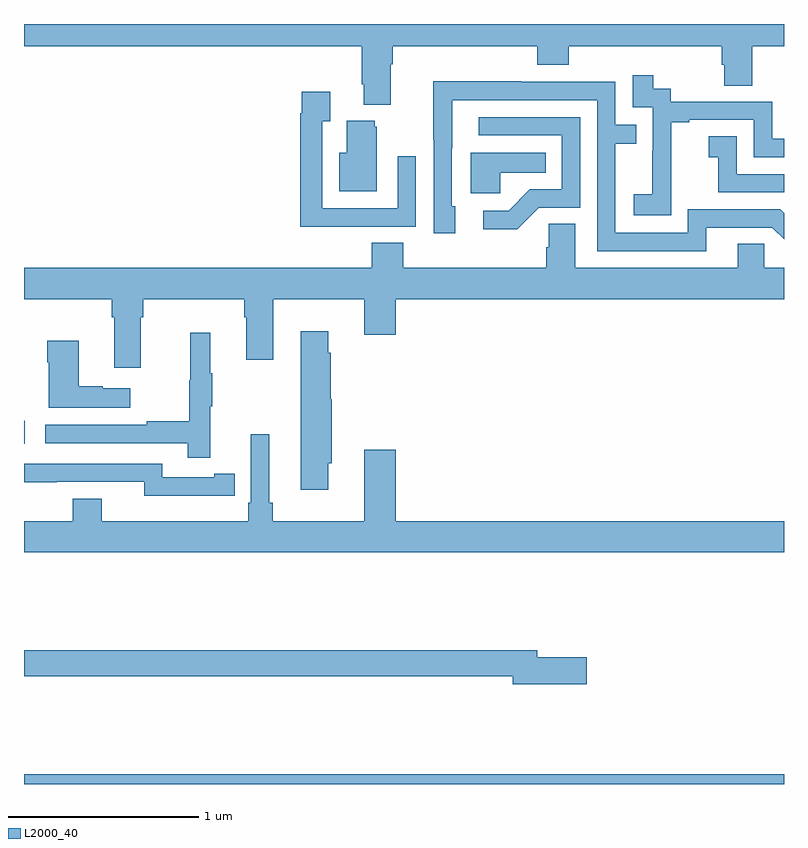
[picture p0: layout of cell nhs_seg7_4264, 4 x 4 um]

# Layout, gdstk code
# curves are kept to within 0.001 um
import gdstk
lib = gdstk.Library(unit=1e-6, precision=1e-09)
def R(c, l, rs):  # rectangles x0, y0, x1, y1
    for r in rs: c.add(gdstk.rectangle(r[:2], r[2:], *l))
def P(c, l, *ps):  # polygons
    for p in ps: c.add(gdstk.Polygon(p, *l))
L2000_40 = (2000, 40)

nhs_seg7_4264 = lib.new_cell('nhs_seg7_4264')
R(nhs_seg7_4264, L2000_40, [(379,1062,383,1062.052), (379,1063.791,379.003,1063.911)])
P(nhs_seg7_4264, L2000_40, [(380.929,1065.788),(380.942,1065.788),(380.942,1065.884),(381.701,1065.884),(381.701,1065.785),(381.866,1065.785),(381.866,1065.884),(382.673,1065.884),(382.673,1065.786),(382.685,1065.786),(382.685,1065.676),(382.833,1065.676),(382.833,1065.884),(383,1065.884),(383,1066),(379,1066),(379,1065.884),(380.777,1065.884),(380.777,1065.682),(380.789,1065.682),(380.789,1065.575),(380.929,1065.575)],
  [(382.407,1065.199),(382.406,1065.199),(382.406,1065.483),(382.501,1065.483),(382.501,1065.495),(382.842,1065.495),(382.842,1065.3),(383,1065.3),(383,1065.396),(382.938,1065.396),(382.938,1065.591),(382.404,1065.591),(382.404,1065.66),(382.312,1065.66),(382.312,1065.73),(382.203,1065.73),(382.203,1065.561),(382.308,1065.561),(382.308,1065.332),(382.307,1065.332),(382.307,1065.103),(382.209,1065.103),(382.209,1064.993),(382.407,1064.993)],
  [(382.591,1064.928),(382.938,1064.928),(383,1064.866),(383,1065.004),(382.98,1065.024),(382.494,1065.024),(382.494,1064.901),(382.113,1064.901),(382.113,1065.37),(382.223,1065.37),(382.223,1065.471),(382.113,1065.471),(382.113,1065.696),(381.617,1065.696),(381.617,1065.698),(381.154,1065.698),(381.154,1065.391),(381.156,1065.391),(381.156,1064.898),(381.271,1064.898),(381.271,1065.042),(381.252,1065.042),(381.253,1065.6),(382.017,1065.6),(382.017,1064.805),(382.591,1064.805)],
  [(380.747,1064.934),(381.063,1064.934),(381.063,1065.304),(380.967,1065.304),(380.967,1065.03),(380.571,1065.03),(380.571,1065.487),(380.611,1065.487),(380.611,1065.643),(380.463,1065.643),(380.463,1065.53),(380.455,1065.53),(380.455,1064.933),(380.747,1064.933)],
  [(381.708,1065.033),(381.927,1065.033),(381.927,1065.51),(381.393,1065.51),(381.393,1065.414),(381.831,1065.414),(381.831,1065.129),(381.662,1065.129),(381.551,1065.018),(381.417,1065.018),(381.417,1064.921),(381.595,1064.921)],
  [(380.857,1065.459),(380.846,1065.459),(380.846,1065.49),(380.699,1065.49),(380.699,1065.322),(380.66,1065.322),(380.66,1065.119),(380.857,1065.119)],
  [(383,1065.21),(382.752,1065.21),(382.752,1065.409),(382.605,1065.409),(382.605,1065.299),(382.654,1065.299),(382.654,1065.114),(383,1065.114)],
  [(381.507,1065.218),(381.746,1065.218),(381.746,1065.322),(381.35,1065.322),(381.35,1065.11),(381.507,1065.11)],
  [(379.615,1064.456),(379.628,1064.456),(379.628,1064.552),(380.159,1064.552),(380.159,1064.456),(380.171,1064.456),(380.171,1064.232),(380.311,1064.232),(380.311,1064.552),(380.792,1064.552),(380.792,1064.364),(380.956,1064.364),(380.956,1064.552),(383,1064.552),(383,1064.716),(382.896,1064.716),(382.896,1064.843),(382.757,1064.843),(382.757,1064.716),(381.901,1064.716),(381.901,1064.948),(381.762,1064.948),(381.762,1064.825),(381.749,1064.825),(381.749,1064.716),(380.996,1064.716),(380.996,1064.849),(380.831,1064.849),(380.831,1064.716),(379,1064.716),(379,1064.552),(379.463,1064.552),(379.463,1064.456),(379.475,1064.456),(379.475,1064.19),(379.615,1064.19)],
  [(380.602,1063.689),(380.62,1063.689),(380.62,1064.025),(380.615,1064.025),(380.615,1064.27),(380.602,1064.27),(380.602,1064.383),(380.456,1064.383),(380.456,1063.548),(380.602,1063.548)],
  [(379.979,1063.987),(379.99,1063.987),(379.99,1064.161),(379.979,1064.161),(379.979,1064.374),(379.876,1064.374),(379.876,1064.124),(379.869,1064.124),(379.869,1063.91),(379.645,1063.91),(379.645,1063.89),(379.113,1063.89),(379.113,1063.794),(379.861,1063.794),(379.861,1063.716),(379.979,1063.716)],
  [(379.558,1064.083),(379.415,1064.083),(379.415,1064.093),(379.288,1064.093),(379.288,1064.332),(379.123,1064.332),(379.123,1064.219),(379.13,1064.219),(379.13,1063.979),(379.558,1063.979)],
  [(383,1063.384),(380.956,1063.384),(380.956,1063.759),(380.792,1063.759),(380.792,1063.384),(380.309,1063.384),(380.309,1063.48),(380.29,1063.48),(380.29,1063.84),(380.193,1063.84),(380.193,1063.48),(380.18,1063.48),(380.18,1063.384),(379.408,1063.384),(379.408,1063.501),(379.256,1063.501),(379.256,1063.384),(379,1063.384),(379,1063.22),(383,1063.22)],
  [(380,1063.518),(380.108,1063.518),(380.108,1063.634),(380,1063.634),(380,1063.614),(379.728,1063.614),(379.728,1063.686),(379,1063.686),(379,1063.589),(379.172,1063.589),(379.172,1063.59),(379.632,1063.59),(379.632,1063.517),(380,1063.517)],
  [(381.961,1062.668),(381.7,1062.668),(381.7,1062.704),(379,1062.704),(379,1062.568),(381.572,1062.568),(381.572,1062.526),(381.961,1062.526)])

lib.write_gds('nhs_seg7_4264.gds')
